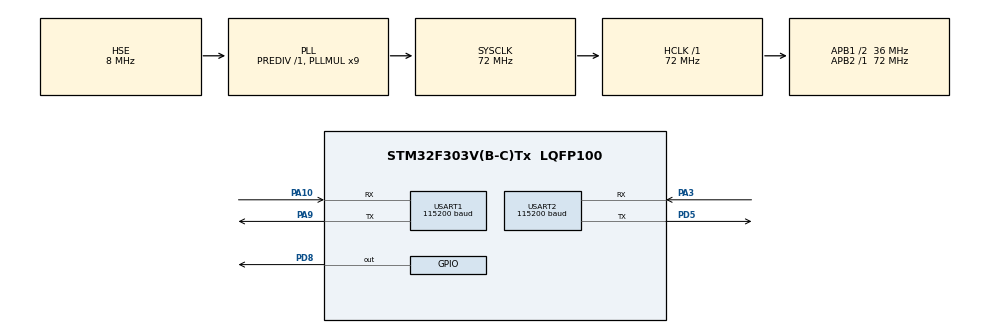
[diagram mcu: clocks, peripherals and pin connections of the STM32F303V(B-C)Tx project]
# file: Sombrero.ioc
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Dma.Request0=USART2_RX
Dma.Request1=USART1_RX
Dma.USART1_RX.1.Direction=DMA_PERIPH_TO_MEMORY
Dma.USART1_RX.1.Instance=DMA1_Channel5
Dma.USART1_RX.1.MemDataAlignment=DMA_MDATAALIGN_BYTE
Dma.USART1_RX.1.MemInc=DMA_MINC_ENABLE
Dma.USART1_RX.1.Mode=DMA_NORMAL
Dma.USART1_RX.1.PeriphDataAlignment=DMA_PDATAALIGN_BYTE
Dma.USART1_RX.1.PeriphInc=DMA_PINC_DISABLE
Dma.USART1_RX.1.Priority=DMA_PRIORITY_LOW
Dma.USART2_RX.0.Direction=DMA_PERIPH_TO_MEMORY
Dma.USART2_RX.0.Instance=DMA1_Channel6
Dma.USART2_RX.0.MemDataAlignment=DMA_MDATAALIGN_BYTE
Dma.USART2_RX.0.MemInc=DMA_MINC_ENABLE
Dma.USART2_RX.0.Mode=DMA_NORMAL
Dma.USART2_RX.0.PeriphDataAlignment=DMA_PDATAALIGN_BYTE
Dma.USART2_RX.0.PeriphInc=DMA_PINC_DISABLE
Dma.USART2_RX.0.Priority=DMA_PRIORITY_LOW
Mcu.Family=STM32F3
Mcu.Name=STM32F303V(B-C)Tx
Mcu.Package=LQFP100
NVIC.DMA1_Channel5_IRQn=true\:0\:0\:false\:false\:true\:false
NVIC.DMA1_Channel6_IRQn=true\:0\:0\:false\:false\:true\:false
NVIC.PriorityGroup=NVIC_PRIORITYGROUP_4
NVIC.USART1_IRQn=true\:0\:0\:false\:false\:true\:true
NVIC.USART2_IRQn=true\:0\:0\:false\:false\:true\:true
PA10.GPIO_PuPd=GPIO_NOPULL
PA10.Mode=Asynchronous
PA10.Signal=USART1_RX
PA3.Mode=Asynchronous
PA3.Signal=USART2_RX
PA9.GPIO_PuPd=GPIO_NOPULL
PA9.Mode=Asynchronous
PA9.Signal=USART1_TX
PD5.Mode=Asynchronous
PD5.Signal=USART2_TX
PD8.Signal=GPIO_Output
PF0-OSC_IN.Mode=HSE-External-Oscillator
PF0-OSC_IN.Signal=RCC_OSC_IN
PF1-OSC_OUT.Mode=HSE-External-Oscillator
PF1-OSC_OUT.Signal=RCC_OSC_OUT
ProjectManager.HeapSize=0x200
ProjectManager.StackSize=0x400
ProjectManager.TargetToolchain=Makefile
RCC.AHBFreq_Value=72000000
RCC.APB1CLKDivider=RCC_HCLK_DIV2
RCC.APB1Freq_Value=36000000
RCC.APB1TimFreq_Value=72000000
RCC.APB2Freq_Value=72000000
RCC.APB2TimFreq_Value=72000000
RCC.CortexFreq_Value=72000000
RCC.HCLKFreq_Value=72000000
RCC.HSE_VALUE=8000000
RCC.HSI_VALUE=8000000
RCC.LSE_VALUE=32768
RCC.PLLMUL=RCC_PLL_MUL9
RCC.PLLSourceVirtual=RCC_PLLSOURCE_HSE
RCC.SYSCLKFreq_VALUE=72000000
RCC.SYSCLKSourceVirtual=RCC_SYSCLKSOURCE_PLLCLK
RCC.USBFreq_Value=72000000
RCC.Usart1ClockSelection=RCC_USART1CLKSOURCE_SYSCLK
RCC.Usart2ClockSelection=RCC_USART2CLKSOURCE_SYSCLK
USART1.BaudRate=115200
USART1.DMADisableonRxErrorParam=ADVFEATURE_DMA_DISABLEONRXERROR
USART1.VirtualMode-Asynchronous=VM_ASYNC
USART2.BaudRate=115200
USART2.VirtualMode-Asynchronous=VM_ASYNC
board=custom

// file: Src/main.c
/**
  ******************************************************************************
  * @file           : main.c
  * @brief          : Main program body
  ******************************************************************************
  ** This notice applies to any and all portions of this file
  * that are not between comment pairs USER CODE BEGIN and
  * USER CODE END. Other portions of this file, whether
  * inserted by the user or by software development tools
  * are owned by their respective copyright owners.
  *
  * COPYRIGHT(c) 2019 STMicroelectronics
  *
  * Redistribution and use in source and binary forms, with or without modification,
  * are permitted provided that the following conditions are met:
  *   1. Redistributions of source code must retain the above copyright notice,
  *      this list of conditions and the following disclaimer.
  *   2. Redistributions in binary form must reproduce the above copyright notice,
  *      this list of conditions and the following disclaimer in the documentation
  *      and/or other materials provided with the distribution.
  *   3. Neither the name of STMicroelectronics nor the names of its contributors
  *      may be used to endorse or promote products derived from this software
  *      without specific prior written permission.
  *
  * THIS SOFTWARE IS PROVIDED BY THE COPYRIGHT HOLDERS AND CONTRIBUTORS "AS IS"
  * AND ANY EXPRESS OR IMPLIED WARRANTIES, INCLUDING, BUT NOT LIMITED TO, THE
  * IMPLIED WARRANTIES OF MERCHANTABILITY AND FITNESS FOR A PARTICULAR PURPOSE ARE
  * DISCLAIMED. IN NO EVENT SHALL THE COPYRIGHT HOLDER OR CONTRIBUTORS BE LIABLE
  * FOR ANY DIRECT, INDIRECT, INCIDENTAL, SPECIAL, EXEMPLARY, OR CONSEQUENTIAL
  * DAMAGES (INCLUDING, BUT NOT LIMITED TO, PROCUREMENT OF SUBSTITUTE GOODS OR
  * SERVICES; LOSS OF USE, DATA, OR PROFITS; OR BUSINESS INTERRUPTION) HOWEVER
  * CAUSED AND ON ANY THEORY OF LIABILITY, WHETHER IN CONTRACT, STRICT LIABILITY,
  * OR TORT (INCLUDING NEGLIGENCE OR OTHERWISE) ARISING IN ANY WAY OUT OF THE USE
  * OF THIS SOFTWARE, EVEN IF ADVISED OF THE POSSIBILITY OF SUCH DAMAGE.
  *
  ******************************************************************************
  */
#include "main.h"
#include "stm32f3xx_hal.h"
#include "dma.h"
#include "usart.h"
#include "gpio.h"

/* USER CODE BEGIN Includes */
#include <string.h>

/* USER CODE END Includes */

/* USER CODE BEGIN PV */

// UART receiving buffers and flags

uint8_t stringready_flag = 0;

uint8_t rx_flag1;
uint8_t rx_flag2;
uint8_t rx_buff1[150];
uint8_t rx_buff2[150];
uint8_t rx_string1[150];
uint8_t rx_string2[150];

uint8_t log_buffer[150];

uint32_t previousMillis = 0;
/* USER CODE END PV */

void SystemClock_Config(void);

/* USER CODE BEGIN PFP */
/* Private function prototypes -----------------------------------------------*/

/* USER CODE END PFP */

int main(void)
{

  /* MCU Configuration----------------------------------------------------------*/

  /* Reset of all peripherals, Initializes the Flash interface and the Systick. */
  HAL_Init();

  /* Configure the system clock */
  SystemClock_Config();

  /* Initialize all configured peripherals */
  MX_GPIO_Init();
  MX_DMA_Init();
  MX_USART2_UART_Init();
  MX_USART1_UART_Init();
  /* USER CODE BEGIN 2 */
  debug_printf("Start.\n\r");
  // enable IDLE flag interrupt. this will trigger UART interrupt handler in the event the host stop transmitting.
  //__HAL_UART_ENABLE_IT(&huart1, UART_IT_IDLE);
  __HAL_UART_ENABLE_IT(&huart2, UART_IT_IDLE);
  // this initialises the UART Rx DMA. UART is now listening and received data will load directly to buffer.
  //HAL_UART_Receive_DMA(&huart1, rx_buff1, sizeof(rx_buff1));
  HAL_UART_Receive_DMA(&huart2, rx_buff2, sizeof(rx_buff2));

  /* USER CODE END 2 */

  /* Infinite loop */
  /* USER CODE BEGIN WHILE */
  while (1)
  {
    if (rx_flag1)
    {
      memcpy(rx_string1, rx_buff1, sizeof(rx_buff1));
      stringready_flag = 1;
      memset(rx_buff1, 0, sizeof(rx_buff1));
      huart1.hdmarx->Instance->CCR &= ~DMA_CCR_EN;
      huart1.hdmarx->Instance->CNDTR = sizeof(rx_buff1);
      huart1.hdmarx->Instance->CCR |= DMA_CCR_EN;
      rx_flag1 = 0;
      sprintf(log_buffer, "rx_string1: %s\r\n", rx_string1);
      debug_printf(log_buffer);
    }
    if (rx_flag2)
    {
      memcpy(rx_string2, rx_buff2, sizeof(rx_buff2));
      stringready_flag = 1;
      memset(rx_buff2, 0, sizeof(rx_buff2));
      huart2.hdmarx->Instance->CCR &= ~DMA_CCR_EN;
      huart2.hdmarx->Instance->CNDTR = sizeof(rx_buff2);
      huart2.hdmarx->Instance->CCR |= DMA_CCR_EN;
      rx_flag2 = 0;
      sprintf(log_buffer, "rx_string2: %s\r\n", rx_string2);
      debug_printf(log_buffer);
    }

    if (stringready_flag)
    {
      stringready_flag = 0;
      json_parser(rx_string2);
    }

    // print the millis since boot every interval.
    uint32_t currentMillis = HAL_GetTick();
    if (currentMillis - previousMillis >= 2000)
    {
      previousMillis = currentMillis;
      sprintf(log_buffer, "millis: %ld\r\n", currentMillis);
      debug_printf(log_buffer);
      HAL_GPIO_TogglePin(GPIOD, GPIO_PIN_8);
    }

    /* USER CODE END WHILE */

  }
}

void SystemClock_Config(void)
{

  RCC_OscInitTypeDef RCC_OscInitStruct;
  RCC_ClkInitTypeDef RCC_ClkInitStruct;
  RCC_PeriphCLKInitTypeDef PeriphClkInit;

  /**Initializes the CPU, AHB and APB busses clocks
    */
  RCC_OscInitStruct.OscillatorType = RCC_OSCILLATORTYPE_HSE;
  RCC_OscInitStruct.HSEState = RCC_HSE_ON;
  RCC_OscInitStruct.HSEPredivValue = RCC_HSE_PREDIV_DIV1;
  RCC_OscInitStruct.HSIState = RCC_HSI_ON;
  RCC_OscInitStruct.PLL.PLLState = RCC_PLL_ON;
  RCC_OscInitStruct.PLL.PLLSource = RCC_PLLSOURCE_HSE;
  RCC_OscInitStruct.PLL.PLLMUL = RCC_PLL_MUL9;
  if (HAL_RCC_OscConfig(&RCC_OscInitStruct) != HAL_OK)
  {
    _Error_Handler(__FILE__, __LINE__);
  }

  /**Initializes the CPU, AHB and APB busses clocks
    */
  RCC_ClkInitStruct.ClockType = RCC_CLOCKTYPE_HCLK | RCC_CLOCKTYPE_SYSCLK | RCC_CLOCKTYPE_PCLK1 | RCC_CLOCKTYPE_PCLK2;
  RCC_ClkInitStruct.SYSCLKSource = RCC_SYSCLKSOURCE_PLLCLK;
  RCC_ClkInitStruct.AHBCLKDivider = RCC_SYSCLK_DIV1;
  RCC_ClkInitStruct.APB1CLKDivider = RCC_HCLK_DIV2;
  RCC_ClkInitStruct.APB2CLKDivider = RCC_HCLK_DIV1;

  if (HAL_RCC_ClockConfig(&RCC_ClkInitStruct, FLASH_LATENCY_2) != HAL_OK)
  {
    _Error_Handler(__FILE__, __LINE__);
  }

  PeriphClkInit.PeriphClockSelection = RCC_PERIPHCLK_USART1 | RCC_PERIPHCLK_USART2;
  PeriphClkInit.Usart1ClockSelection = RCC_USART1CLKSOURCE_SYSCLK;
  PeriphClkInit.Usart2ClockSelection = RCC_USART2CLKSOURCE_SYSCLK;
  if (HAL_RCCEx_PeriphCLKConfig(&PeriphClkInit) != HAL_OK)
  {
    _Error_Handler(__FILE__, __LINE__);
  }

  /**Configure the Systick interrupt time
    */
  HAL_SYSTICK_Config(HAL_RCC_GetHCLKFreq() / 1000);

  /**Configure the Systick
    */
  HAL_SYSTICK_CLKSourceConfig(SYSTICK_CLKSOURCE_HCLK);

  /* SysTick_IRQn interrupt configuration */
  HAL_NVIC_SetPriority(SysTick_IRQn, 0, 0);
}

void _Error_Handler(char *file, int line)
{
  while (1)
  {
  }
}

/************************ (C) COPYRIGHT STMicroelectronics *****END OF FILE****/
